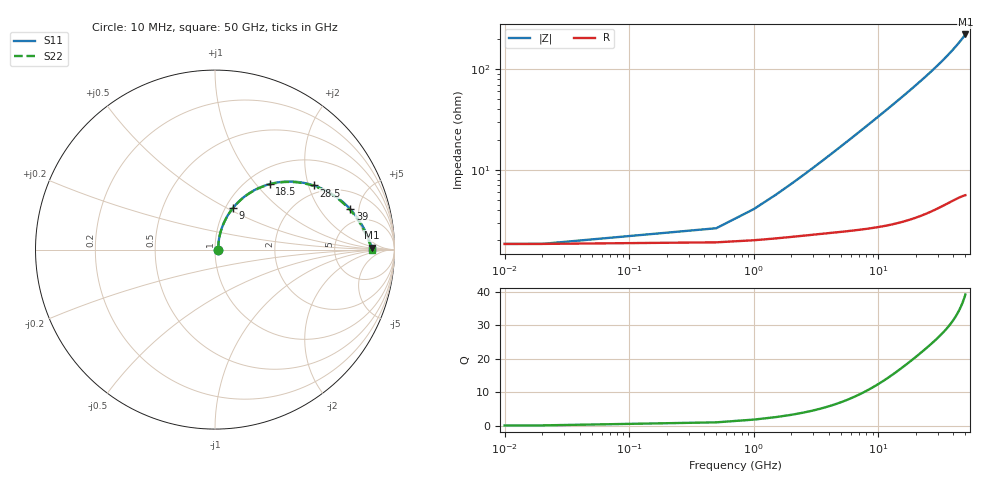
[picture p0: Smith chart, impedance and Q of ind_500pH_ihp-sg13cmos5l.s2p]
#  GHZ S DB R 50.0
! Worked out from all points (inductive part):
!   102 points, 10 MHz to 50 GHz, reference 50 ohm
!   read as one part in series: L = 546 pH near 2 GHz
!   highest Q = 39.2 at 50 GHz (marker M1), where L = 700 pH
!   S11 on the Smith chart (normalised r, x): 10 MHz: 1.04, +0.00; 9 GHz: 1.08, +0.53; 18.5 GHz: 1.26, +1.18; 28.5 GHz: 1.73, +2.16; 39 GHz: 3.43, +4.05; 50 GHz: 15, +1
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0.01  -34.85 0.9  -0.16 -0.0  -0.16 -0.0  -34.85 0.9
0.5  -32.77 36.6  -0.17 -1.2  -0.17 -1.2  -32.77 36.6
1  -29.53 55.4  -0.19 -2.4  -0.19 -2.4  -29.53 55.4
1.5  -26.74 64.2  -0.21 -3.5  -0.21 -3.5  -26.74 64.1
2  -24.51 68.5  -0.23 -4.5  -0.23 -4.5  -24.50 68.4
2.5  -22.69 70.7  -0.25 -5.6  -0.25 -5.6  -22.69 70.7
3  -21.19 71.9  -0.27 -6.6  -0.27 -6.6  -21.19 71.8
4  -18.78 72.5  -0.31 -8.7  -0.31 -8.7  -18.79 72.5
5.5  -16.12 71.7  -0.37 -11.7  -0.37 -11.7  -16.12 71.6
7  -14.10 69.9  -0.45 -14.8  -0.45 -14.8  -14.11 69.8
8.5  -12.50 67.6  -0.54 -17.8  -0.54 -17.8  -12.50 67.5
9  -12.03 66.8  -0.57 -18.9  -0.57 -18.9  -12.03 66.7
12.5  -9.40 60.8  -0.85 -25.8  -0.85 -25.8  -9.40 60.7
17  -7.06 52.8  -1.31 -34.5  -1.31 -34.5  -7.07 52.6
18.5  -6.45 50.1  -1.49 -37.3  -1.49 -37.3  -6.46 49.9
22  -5.26 44.0  -1.96 -43.7  -1.96 -43.7  -5.27 43.7
25.5  -4.32 38.0  -2.48 -49.9  -2.48 -49.9  -4.33 37.7
28.5  -3.66 33.0  -2.97 -55.0  -2.97 -55.0  -3.67 32.6
33.5  -2.79 25.0  -3.87 -63.2  -3.87 -63.2  -2.80 24.6
39  -2.08 16.6  -4.98 -71.8  -4.98 -71.8  -2.09 16.1
42  -1.78 12.2  -5.64 -76.3  -5.64 -76.3  -1.79 11.6
50  -1.18 0.7  -7.57 -88.0  -7.57 -88.0  -1.19 0.0
